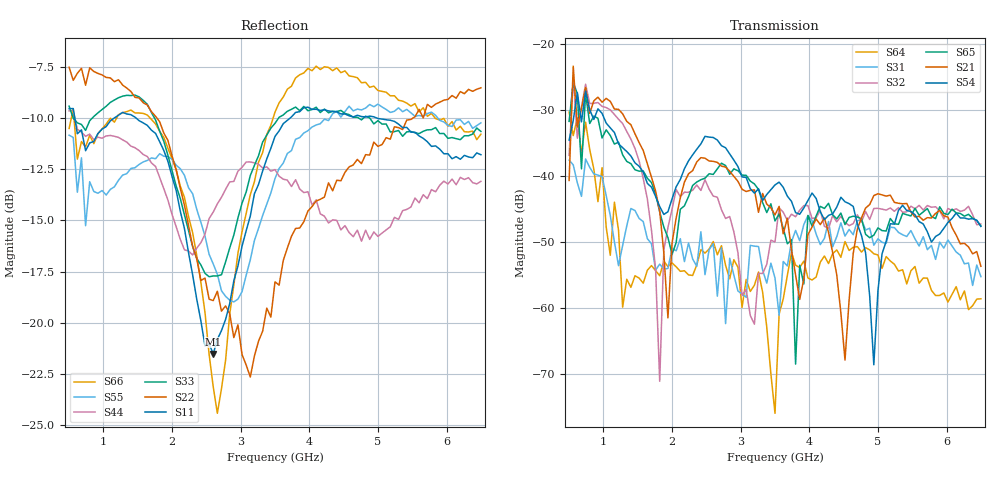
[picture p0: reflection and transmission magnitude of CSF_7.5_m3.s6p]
!Keysight Technologies,M9804A,MY58100912,A.14.10.03
!Date: Thursday, April 27, 2023 10:28:33
!Correction: S11(C  6-Port  )
!S12(C  6-Port  )
!S13(C  6-Port  )
!S14(C  6-Port  )
!S15(C  6-Port  )
!S16(C  6-Port  )
!S21(C  6-Port  )
!S22(C  6-Port  )
!S23(C  6-Port  )
!S24(C  6-Port  )
!S25(C  6-Port  )
!S26(C  6-Port  )
!S31(C  6-Port  )
!S32(C  6-Port  )
!S33(C  6-Port  )
!S34(C  6-Port  )
!S35(C  6-Port  )
!S36(C  6-Port  )
!S41(C  6-Port  )
!S42(C  6-Port  )
!S43(C  6-Port  )
!S44(C  6-Port  )
!S45(C  6-Port  )
!S46(C  6-Port  )
!S51(C  6-Port  )
!S52(C  6-Port  )
!S53(C  6-Port  )
!S54(C  6-Port  )
!S55(C  6-Port  )
!S56(C  6-Port  )
!S61(C  6-Port  )
!S62(C  6-Port  )
!S63(C  6-Port  )
!S64(C  6-Port  )
!S65(C  6-Port  )
!S66(C  6-Port  )
!S6P File: Measurement: :
# Hz S  RI  R 50
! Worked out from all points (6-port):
!   101 points, 500 MHz to 6.5 GHz, reference 50 ohm
!   strongest paths, dB at 500 MHz, 2 GHz, 3.5 GHz, 5 GHz, 6.5 GHz:
!     S54: -34.6, -43.5, -41.4, -57.4, -47.7
!     S21: -40.7, -50.2, -45.9, -42.7, -53.7
!     S65: -31.8, -51.9, -46.9, -47.9, -47.6
!     S32: -36.9, -45.1, -50.0, -44.9, -47.3
!     S31: -37.6, -51.0, -55.5, -49.6, -55.3
!     S64: -30.4, -53.2, -76.0, -52.0, -58.7
!   lowest |S11| = -21.5 dB at 2.6 GHz (marker M1), VSWR 1.18, Z = 42.5 + j1.95 ohm
!   |S11| at or under -10 dB: 582.9 MHz to 1.154 GHz (571.3 MHz wide, 65.8 % of centre); 1.477 GHz to 3.718 GHz (2.241 GHz wide, 86.3 % of centre); 4.987 GHz to end of sweep
